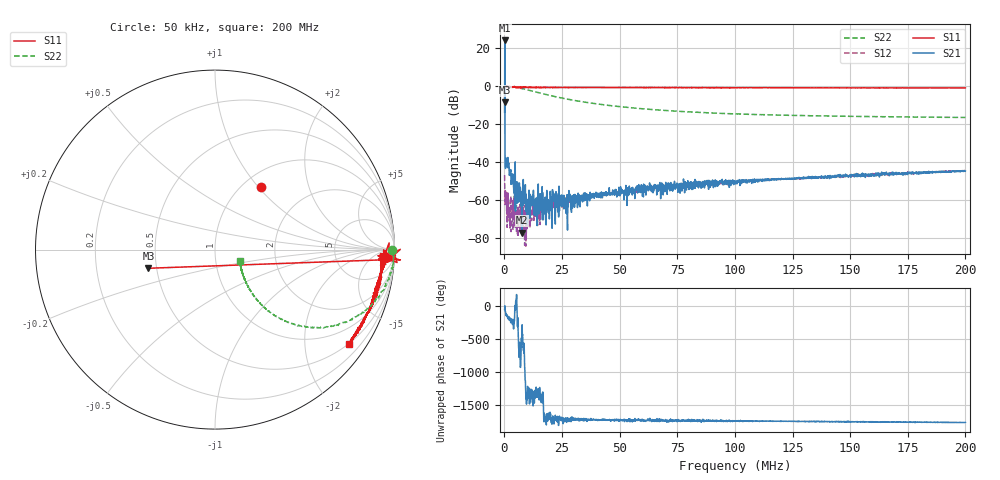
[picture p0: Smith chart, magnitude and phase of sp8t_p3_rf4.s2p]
! 26-Feb-26 11:43:22 AM
! E:\VNA_MEASUREMENTS\SP8T\SP8T_P3_RF4.S2P
! CHANNEL.1
! TR.MEASUREMENT
! CORRECTED.DATA
# GHZ S RI R 50.0
! FREQ.GHZ  S11RE  S11IM  S21RE  S21IM  S12RE  S12IM  S22RE  S22IM
!; PortSelection: Port_12
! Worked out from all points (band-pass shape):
!   2000 points, 50 kHz to 200 MHz, reference 50 ohm
!   highest |S21| = 24.21 dB at 150 kHz (marker M1); lowest = -77.0 dB at 7.552 MHz (marker M2)
!   |S21| within 3 dB of the highest: 142.1 kHz to 154.8 kHz (12.7 kHz wide, 8.55 % of centre)
!   lowest |S11| = -8.3 dB at 250 kHz (marker M3), VSWR 2.25, Z = 22.5 - j5.5 ohm
!   |S11| at or under -10 dB: nowhere
!   |S22| runs from -16.4 to 0.1 dB; largest |S21 - S12| = 16
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5e-05  0.259 0.3479  0.1261 -0.1653  0.000491 -0.00459  0.9882 -0.00432
0.000150025  1.278 -0.00758  16.18 1.38  0.00153 0.000403  1.011 -0.00967
0.00025005  -0.371 -0.104  0.00901 -0.00732  0.000727 -0.00024  1.005 -0.0194
0.001150275  0.988 -0.00949  -0.00691 -0.00309  9.93e-05 -0.000168  0.9924 -0.0686
0.0012503  0.9484 -0.0572  -0.007 -0.0046  0.0003 0.000934  0.9934 -0.0801
0.002950725  0.9382 -0.0427  -0.0032 0.000772  -0.000262 1.72e-05  0.9625 -0.1803
0.004751176  0.9517 -0.052  0.00028 -0.000429  0.000226 0.000262  0.9115 -0.2739
0.007551876  0.9427 -0.0531  0.0001 -0.000101  0.000353 0.000556  0.7989 -0.3668
0.009252301  0.9568 -0.0573  2.83e-05 0.000627  -6.1e-05 1.22e-05  0.7262 -0.4065
0.01065265  0.945 -0.0518  -0.00175 -0.00063  -0.000334 0.000517  0.6717 -0.4218
0.0116529  0.9495 -0.078  -0.000486 0.000652  3.27e-05 0.000503  0.6329 -0.4311
0.01715428  0.9306 -0.0571  0.000264 0.000793  -0.000135 0.000728  0.4673 -0.4232
0.02175543  0.9323 -0.0724  3.09e-05 0.0013  -9.27e-05 0.000825  0.3779 -0.3923
0.0228557  0.9378 -0.0756  0.000448 0.000502  7.16e-05 0.000839  0.3596 -0.3816
0.02495623  0.9372 -0.0733  5.74e-05 0.000691  9.93e-05 0.000655  0.3313 -0.367
0.02655663  0.9333 -0.0894  -0.000272 0.000836  0.0001 0.000985  0.3137 -0.3539
0.03345835  0.9314 -0.1014  9.39e-05 0.00104  5.05e-05 0.00112  0.256 -0.3044
0.06676668  0.9093 -0.2023  0.000584 0.00164  0.000732 0.00195  0.1685 -0.1712
0.100075  0.8865 -0.2861  0.00163 0.00239  0.00126 0.0027  0.1488 -0.1178
0.1333833  0.841 -0.3662  0.00228 0.00325  0.00238 0.00311  0.143 -0.0906
0.1666917  0.7996 -0.4506  0.00346 0.00371  0.00349 0.00371  0.1406 -0.0748
0.2  0.7447 -0.5263  0.00465 0.00367  0.00501 0.00324  0.1383 -0.0631
